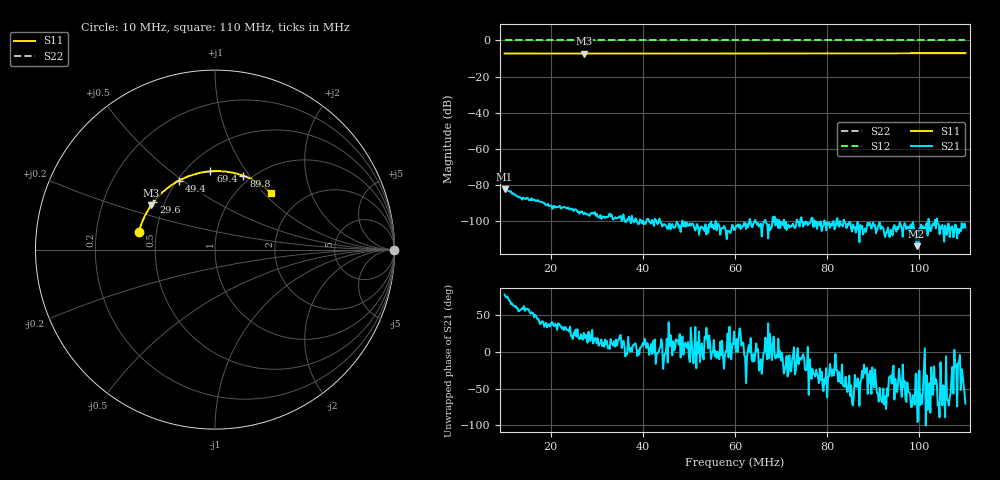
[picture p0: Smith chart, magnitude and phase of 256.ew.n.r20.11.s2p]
! Anritsu VNA Master:  Model: MS2036C/10/77
! SN:  1601066
! /card0/usr/256.ew.n.r20.11.s2p
! Existing Calibration Information:
! TYPE:  Current Settings,  Active Cal Settings
! TIME:  12/19/2017 02:56:42 PM,  12/19/2017 02:53:44 PM
! INTERNAL TEMP:  46.5 C,  46.3 C
! # POINTS:  501,  501
! START FREQ:  10.000 MHz,  10.000 MHz
! STOP FREQ:  110.000 MHz,  110.000 MHz
! SOURCE POWER:  High,  High
! IFBW:  100 Hz,  100 Hz
! AVG FACTOR:  1 ,  1
! REF PLANE 1:  0 mm,  0 mm
! REF PLANE 2:  0 mm,  0 mm
! CAL TYPE:  Full S11,  Full S11
! CAL METHOD:  SOLT,  SOLT
! CAL LINE TYPE:  Coax,  Coax
! DUT PORT 1:  N-Conn(F),  N-Conn(F)
! DUT PORT 2:  K-Conn(F),  K-Conn(F)
! CAL STATUS:  OK: Accuracy High,  --
# GHZ S DB R 50.0
! FREQ.GHZ  S11DB  S11A  S21DB  S21A  S12DB  S12A  S22DB  S22A
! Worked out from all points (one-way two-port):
!   501 points, 10 MHz to 110 MHz, reference 50 ohm
!   highest |S21| = -82.49 dB at 10 MHz (marker M1); lowest = -114.0 dB at 99.4 MHz (marker M2)
!   lowest |S11| = -7.3 dB at 27.2 MHz (marker M3), VSWR 2.52, Z = 21.4 + j13 ohm
!   |S11| at or under -10 dB: nowhere
!   |S22| runs from 0.0 to 0.0 dB; largest |S21 - S12| = 1
!   S11 on the Smith chart (normalised r, x): 10 MHz: 0.40, +0.10; 29.6 MHz: 0.43, +0.28; 49.4 MHz: 0.51, +0.48; 69.4 MHz: 0.65, +0.70; 89.8 MHz: 0.92, +0.94; 110 MHz: 1.41, +1.10
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0.01  -7.22 167.1  -82.49 77.9  0.00 0.0  0.00 0.0
0.0142  -7.23 161.7  -87.45 62.2  0.00 0.0  0.00 0.0
0.0184  -7.26 156.4  -89.99 40.9  0.00 0.0  0.00 0.0
0.0214  -7.26 152.6  -92.31 29.9  0.00 0.0  0.00 0.0
0.0268  -7.29 145.8  -94.67 18.2  0.00 0.0  0.00 0.0
0.0272  -7.29 145.3  -96.25 25.9  0.00 0.0  0.00 0.0
0.0296  -7.27 142.4  -95.17 18.8  0.00 0.0  0.00 0.0
0.0366  -7.26 133.5  -99.03 -3.3  0.00 0.0  0.00 0.0
0.0434  -7.27 125.1  -100.28 -1.0  0.00 0.0  0.00 0.0
0.0478  -7.25 119.6  -103.78 10.0  0.00 0.0  0.00 0.0
0.0494  -7.27 117.8  -103.17 7.2  0.00 0.0  0.00 0.0
0.055  -7.24 110.8  -103.54 -1.0  0.00 0.0  0.00 0.0
0.06  -7.24 104.8  -104.96 11.3  0.00 0.0  0.00 0.0
0.0632  -7.21 100.9  -98.91 -0.2  0.00 0.0  0.00 0.0
0.0694  -7.19 93.3  -103.99 17.9  0.00 0.0  0.00 0.0
0.0768  -7.16 84.4  -98.17 -23.1  0.00 0.0  0.00 0.0
0.0846  -7.13 75.1  -102.42 -48.7  0.00 0.0  0.00 0.0
0.0898  -7.12 69.0  -102.34 -21.1  0.00 0.0  0.00 0.0
0.0934  -7.10 64.7  -108.04 -35.3  0.00 0.0  0.00 0.0
0.0994  -7.08 57.5  -113.99 -30.6  0.00 0.0  0.00 0.0
0.1062  -7.06 49.5  -101.78 -65.8  0.00 0.0  0.00 0.0
0.11  -7.05 45.1  -103.64 -70.4  0.00 0.0  0.00 0.0
